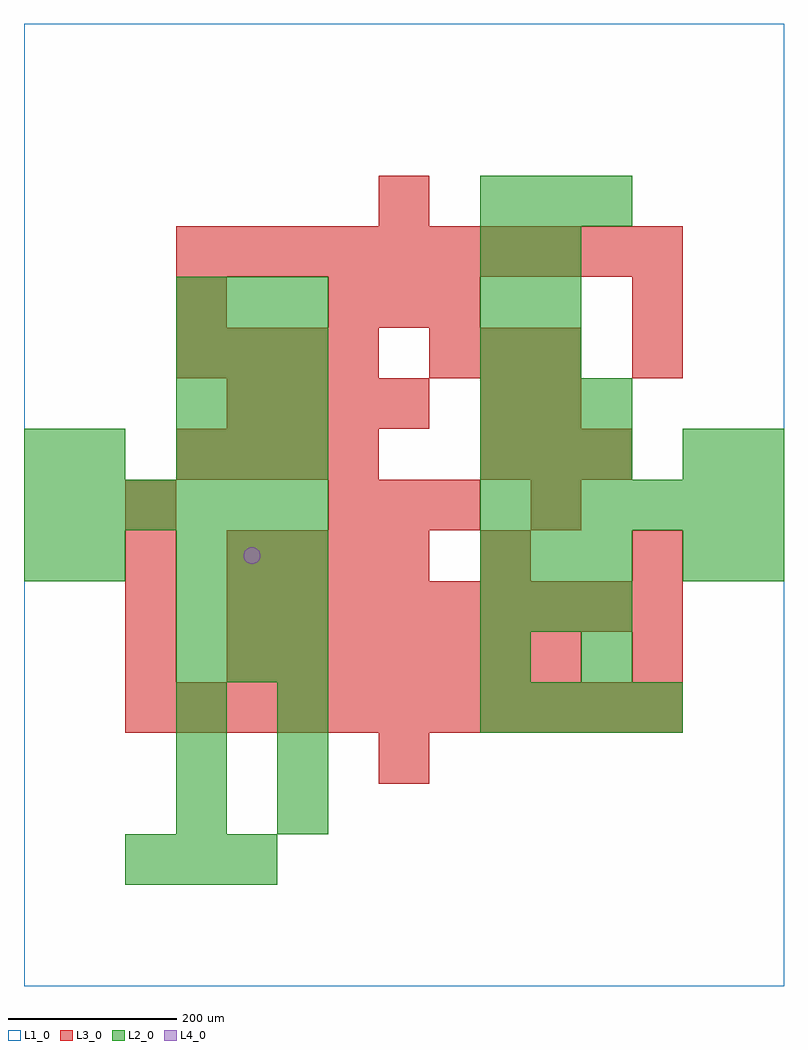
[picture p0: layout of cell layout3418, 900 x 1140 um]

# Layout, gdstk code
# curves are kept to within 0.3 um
import gdstk
lib = gdstk.Library(unit=1e-6, precision=1e-09)
def R(c, l, rs):  # rectangles x0, y0, x1, y1
    for r in rs: c.add(gdstk.rectangle(r[:2], r[2:], *l))
def A(c, l, x, y, w, h, nx, ny, dx, dy):  # array of equal rectangles
    R(c, l, [(x+i*dx, y+j*dy, x+i*dx+w, y+j*dy+h) for i in range(nx) for j in range(ny)])
def P(c, l, *ps):  # polygons
    for p in ps: c.add(gdstk.Polygon(p, *l))
L1_0 = (1, 0)
L2_0 = (2, 0)
L3_0 = (3, 0)
L4_0 = (4, 0)

layout3418 = lib.new_cell('layout3418')
R(layout3418, L1_0, [(0,0,900,1140)])
A(layout3418, L2_0, 120, 120, 60, 60, 3, 1, 60, 0)
A(layout3418, L2_0, 180, 180, 60, 60, 1, 3, 0, 60)
A(layout3418, L2_0, 300, 180, 60, 60, 1, 3, 0, 60)
A(layout3418, L2_0, 540, 300, 60, 60, 4, 1, 60, 0)
A(layout3418, L2_0, 180, 360, 60, 60, 3, 3, 60, 60)
A(layout3418, L2_0, 540, 420, 60, 60, 3, 2, 60, 60)
A(layout3418, L2_0, 0, 540, 60, 60, 6, 1, 60, 0)
A(layout3418, L2_0, 540, 540, 60, 60, 6, 1, 60, 0)
A(layout3418, L2_0, 180, 600, 60, 60, 3, 4, 60, 60)
A(layout3418, L2_0, 540, 600, 60, 60, 3, 2, 60, 60)
A(layout3418, L2_0, 540, 720, 60, 60, 1, 3, 0, 60)
A(layout3418, L2_0, 600, 720, 60, 60, 1, 3, 0, 60)
A(layout3418, L2_0, 540, 900, 60, 60, 3, 1, 60, 0)
R(layout3418, L2_0, [(540,360,600,420), (660,360,720,420), (0,480,60,540), (60,480,120,540), (780,480,840,540), (840,480,900,540), (0,600,60,660), (60,600,120,660), (780,600,840,660), (840,600,900,660)])
A(layout3418, L3_0, 120, 300, 60, 60, 11, 1, 60, 0)
A(layout3418, L3_0, 120, 360, 60, 60, 1, 4, 0, 60)
A(layout3418, L3_0, 240, 360, 60, 60, 7, 1, 60, 0)
A(layout3418, L3_0, 240, 420, 60, 60, 9, 1, 60, 0)
A(layout3418, L3_0, 240, 480, 60, 60, 4, 2, 60, 180)
A(layout3418, L3_0, 360, 540, 60, 60, 3, 2, 60, 240)
A(layout3418, L3_0, 180, 600, 60, 60, 4, 2, 60, 120)
A(layout3418, L3_0, 540, 600, 60, 60, 3, 1, 60, 0)
A(layout3418, L3_0, 480, 720, 60, 60, 3, 1, 60, 0)
A(layout3418, L3_0, 180, 840, 60, 60, 10, 1, 60, 0)
R(layout3418, L3_0, [(420,240,480,300), (720,360,780,420), (540,480,600,540), (720,480,780,540), (600,540,660,600), (540,660,600,720), (600,660,660,720), (720,720,780,780), (180,780,240,840), (720,780,780,840), (420,900,480,960)])
P(layout3418, L4_0, [(280,510),(279.239,513.827),(277.071,517.071),(273.827,519.239),(270,520),(266.173,519.239),(262.929,517.071),(260.761,513.827),(260,510),(260.761,506.173),(262.929,502.929),(266.173,500.761),(270,500),(273.827,500.761),(277.071,502.929),(279.239,506.173)])

lib.write_gds('layout3418.gds')
